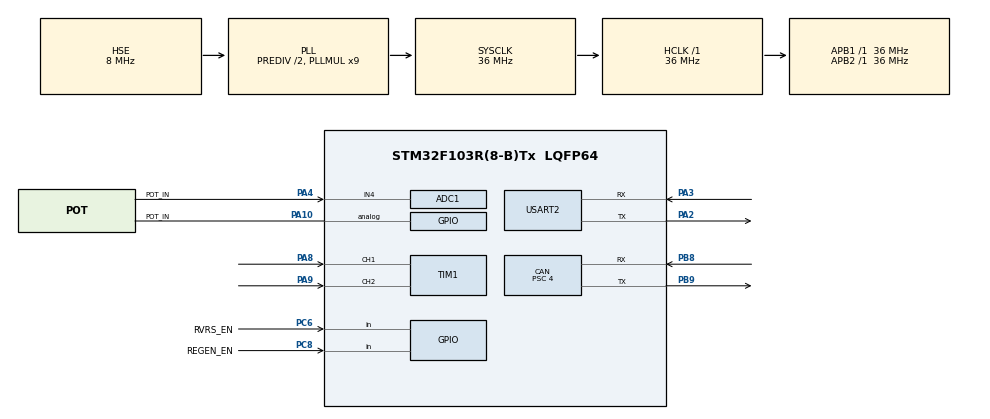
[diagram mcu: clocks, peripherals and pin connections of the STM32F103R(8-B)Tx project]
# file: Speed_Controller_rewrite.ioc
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ADC1.Channel-0\#ChannelRegularConversion=ADC_CHANNEL_4
ADC1.ExternalTrigConv=ADC_EXTERNALTRIGCONV_T3_TRGO
ADC1.NbrOfConversionFlag=1
ADC1.Rank-0\#ChannelRegularConversion=1
ADC1.SamplingTime-0\#ChannelRegularConversion=ADC_SAMPLETIME_239CYCLES_5
ADC1.master=1
CAN.ABOM=ENABLE
CAN.BS1=CAN_BS1_15TQ
CAN.BS2=CAN_BS2_2TQ
CAN.CalculateBaudRate=500000
CAN.CalculateTimeBit=2000
CAN.CalculateTimeQuantum=111.11111111111111
CAN.NART=ENABLE
CAN.Prescaler=4
Dma.ADC1.0.Direction=DMA_PERIPH_TO_MEMORY
Dma.ADC1.0.Instance=DMA1_Channel1
Dma.ADC1.0.MemDataAlignment=DMA_MDATAALIGN_HALFWORD
Dma.ADC1.0.MemInc=DMA_MINC_ENABLE
Dma.ADC1.0.Mode=DMA_CIRCULAR
Dma.ADC1.0.PeriphDataAlignment=DMA_PDATAALIGN_HALFWORD
Dma.ADC1.0.PeriphInc=DMA_PINC_DISABLE
Dma.ADC1.0.Priority=DMA_PRIORITY_LOW
Dma.Request0=ADC1
Mcu.Family=STM32F1
Mcu.Name=STM32F103R(8-B)Tx
Mcu.Package=LQFP64
NVIC.DMA1_Channel1_IRQn=true\:0\:0\:false\:false\:true\:false\:true
NVIC.PriorityGroup=NVIC_PRIORITYGROUP_4
PA10.GPIO_Label=POT_IN
PA10.Signal=GPIO_Analog
PA13.Mode=Serial_Wire
PA13.Signal=SYS_JTMS-SWDIO
PA14.Mode=Serial_Wire
PA14.Signal=SYS_JTCK-SWCLK
PA2.Mode=Asynchronous
PA2.Signal=USART2_TX
PA3.Mode=Asynchronous
PA3.Signal=USART2_RX
PA4.GPIO_Label=POT_IN
PA4.Signal=ADCx_IN4
PA8.Signal=S_TIM1_CH1
PA9.Signal=S_TIM1_CH2
PB8.Mode=CAN_Activate
PB8.Signal=CAN_RX
PB9.Mode=CAN_Activate
PB9.Signal=CAN_TX
PC6.GPIO_Label=RVRS_EN
PC6.Signal=GPIO_Input
PC8.GPIO_Label=REGEN_EN
PC8.Signal=GPIO_Input
PD0-OSC_IN.Mode=HSE-External-Clock-Source
PD0-OSC_IN.Signal=RCC_OSC_IN
PD1-OSC_OUT.Mode=HSE-External-Clock-Source
PD1-OSC_OUT.Signal=RCC_OSC_OUT
ProjectManager.HeapSize=0x200
ProjectManager.StackSize=0x400
ProjectManager.TargetToolchain=EWARM V8.32
RCC.ADCPresc=RCC_ADCPCLK2_DIV4
RCC.AHBFreq_Value=36000000
RCC.APB1Freq_Value=36000000
RCC.APB1TimFreq_Value=36000000
RCC.APB2Freq_Value=36000000
RCC.APB2TimFreq_Value=36000000
RCC.EnbaleCSS=true
RCC.HCLKFreq_Value=36000000
RCC.HSEDivPLL=RCC_HSE_PREDIV_DIV2
RCC.PLLMUL=RCC_PLL_MUL9
RCC.PLLSourceVirtual=RCC_PLLSOURCE_HSE
RCC.SYSCLKFreq_VALUE=36000000
RCC.SYSCLKSource=RCC_SYSCLKSOURCE_PLLCLK
RCC.USBFreq_Value=36000000
SH.ADCx_IN4.0=ADC1_IN4,IN4
SH.S_TIM1_CH1.0=TIM1_CH1,Encoder_Interface
SH.S_TIM1_CH2.0=TIM1_CH2,Encoder_Interface
TIM1.EncoderMode=TIM_ENCODERMODE_TI12
TIM3.Period=10 - 1
TIM3.Prescaler=3600 - 1
TIM3.TIM_MasterOutputTrigger=TIM_TRGO_UPDATE
USART2.VirtualMode=VM_ASYNC
VP_TIM3_VS_ClockSourceINT.Mode=Internal
board=custom

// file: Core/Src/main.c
/* USER CODE BEGIN Header */
/**
 ******************************************************************************
 * @file           : main.c
 * @brief          : Main program body
 ******************************************************************************
 * @attention
 *
 * Copyright (c) 2022 STMicroelectronics.
 * All rights reserved.
 *
 * This software is licensed under terms that can be found in the LICENSE file
 * in the root directory of this software component.
 * If no LICENSE file comes with this software, it is provided AS-IS.
 *
 ******************************************************************************
 */
/* USER CODE END Header */
#include "main.h"

/* USER CODE BEGIN Includes */
#include "debug_io.h"
#include "data_collect.h"
/* USER CODE END Includes */

/* USER CODE BEGIN PD */
// POT
#define PEDAL_MIN (0x36000)
#define PEDAL_MAX (0x3B400)

// STATE FREE ERROR RAW CURR

#define PEDAL_OVERFLOW (0x7000 * 10)

#define ADC_AVERAGE_SIZE 10
#define ADC_BUF_SIZE (ADC_AVERAGE_SIZE * 2)

typedef union
{
  float f;
  uint8_t b[4];
} FloatBytes_t;
/* USER CODE END PD */

ADC_HandleTypeDef hadc1;
DMA_HandleTypeDef hdma_adc1;

CAN_HandleTypeDef hcan;

TIM_HandleTypeDef htim1;
TIM_HandleTypeDef htim3;

UART_HandleTypeDef huart2;

void SystemClock_Config(void);
static void MX_GPIO_Init(void);
static void MX_CAN_Init(void);
static void MX_TIM1_Init(void);
static void MX_USART2_UART_Init(void);
static void MX_DMA_Init(void);
static void MX_ADC1_Init(void);
static void MX_TIM3_Init(void);
/* USER CODE BEGIN PFP */
static void SendMotorCommand(FloatBytes_t currentSetpoint, FloatBytes_t velocitySetpoint);
/* USER CODE END PFP */

/* USER CODE BEGIN 0 */
static volatile uint16_t adcBuf[ADC_BUF_SIZE] = {0};
static uint8_t regen_state;

static CAN_TxHeaderTypeDef speedCommandCanHeader = {
    0x0401,       // CAN ID
    0x0000,       // Extended CAN ID - unused
    CAN_ID_STD,   // Frame Identifier - Standard ID
    CAN_RTR_DATA, // Frame type - Data
    8,            // Data length
    DISABLE       // Timestamp
};

/**
 * Sends a CAN message to the motor controller with desired params
 *
 * @param current current percentage from 0-1
 * @param velocity target velocity in m/s
 */
static void SendMotorCommand(FloatBytes_t currentSetpoint, FloatBytes_t velocitySetpoint)
{
  uint32_t mailbox;
  uint8_t data[8];

  data[0] = velocitySetpoint.b[0];
  data[1] = velocitySetpoint.b[1];
  data[2] = velocitySetpoint.b[2];
  data[3] = velocitySetpoint.b[3];

  data[4] = currentSetpoint.b[0];
  data[5] = currentSetpoint.b[1];
  data[6] = currentSetpoint.b[2];
  data[7] = currentSetpoint.b [3];

  if(HAL_CAN_GetTxMailboxesFreeLevel(&hcan) <= 0) {
    printf("Mailbox full! ");
  } else {
    HAL_CAN_AddTxMessage(&hcan, &speedCommandCanHeader, data, &mailbox);
    printf("0x%x, 0x%lx, 0x%lx, ", HAL_CAN_GetState(&hcan), HAL_CAN_GetTxMailboxesFreeLevel(&hcan), HAL_CAN_GetError(&hcan));
  }

}

/* USER CODE END 0 */

// TODO: fix device failing to power on correctly at vehicle startup

int main(void)
{
  /* USER CODE BEGIN 1 */
  uint32_t pedal;
  FloatBytes_t currentSetpoint;
  FloatBytes_t velocitySetpoint;
  /* USER CODE END 1 */

  /* MCU Configuration--------------------------------------------------------*/

  /* Reset of all peripherals, Initializes the Flash interface and the Systick. */
  HAL_Init();

  /* Configure the system clock */
  SystemClock_Config();

  /* Initialize all configured peripherals */
  MX_GPIO_Init();
  MX_CAN_Init();
  MX_TIM1_Init();
  MX_USART2_UART_Init();
  MX_DMA_Init();
  MX_ADC1_Init();
  MX_TIM3_Init();
  /* USER CODE BEGIN 2 */
  DebugIO_Init(&huart2);
  printf("RESTART!\r\n");
  //HAL_TIM_Base_Start_IT(&htim2);
  //HAL_TIM_Encoder_Start(&htim1, TIM_CHANNEL_ALL);
  while(HAL_CAN_Start(&hcan) != HAL_OK)
    HAL_Delay(100);
  printf("CAN INIT");

  DataCollect_PrepareHardware(&hadc1);
  DataCollect_Start(&htim3);
  printf("ADC INIT");
  /* USER CODE END 2 */

  /* Infinite loop */
  /* USER CODE BEGIN WHILE */
  while (1)
  {
    // pedal = __HAL_TIM_GET_COUNTER(&htim1);

    if(DataCollect_Poll() == ADC1_RESULTS_STORED)
    {
      DataCollect_Get(&pedal);
      regen_state = HAL_GPIO_ReadPin(REGEN_EN_GPIO_Port, REGEN_EN_Pin);
      velocitySetpoint.f = HAL_GPIO_ReadPin(RVRS_EN_GPIO_Port, RVRS_EN_Pin) ? -10.0 : 10.0;

      if (pedal > PEDAL_OVERFLOW)
      {
        //__HAL_TIM_SET_COUNTER(&htim1, 0);
        printf("OF 0x%lX, %d\r\n", pedal, 0);
      }
      else
      {
        if (pedal > PEDAL_MIN)
        {
          // Map pedal value to percentage of full current
          currentSetpoint.f = ((float)(pedal - PEDAL_MIN)) / (PEDAL_MAX - PEDAL_MIN);

          // Fix target current between 0-1
          if (currentSetpoint.f > 1.0f)
            currentSetpoint.f = 1.0f;

          SendMotorCommand(currentSetpoint, velocitySetpoint);
          printf("0x%lX, %d\r\n", pedal, (int) (currentSetpoint.f * 100.0));
        } else
        {
          currentSetpoint.f = regen_state ? 1.0f : 0.0f;
          velocitySetpoint.f = 0;
          SendMotorCommand(currentSetpoint, velocitySetpoint);
          printf("0x%lX, %d\r\n", pedal, 0);
        }
      }
    }

    /* USER CODE END WHILE */

  }
}

void SystemClock_Config(void)
{
  RCC_OscInitTypeDef RCC_OscInitStruct = {0};
  RCC_ClkInitTypeDef RCC_ClkInitStruct = {0};
  RCC_PeriphCLKInitTypeDef PeriphClkInit = {0};

  /** Initializes the RCC Oscillators according to the specified parameters
  * in the RCC_OscInitTypeDef structure.
  */
  RCC_OscInitStruct.OscillatorType = RCC_OSCILLATORTYPE_HSE;
  RCC_OscInitStruct.HSEState = RCC_HSE_BYPASS;
  RCC_OscInitStruct.HSEPredivValue = RCC_HSE_PREDIV_DIV2;
  RCC_OscInitStruct.HSIState = RCC_HSI_ON;
  RCC_OscInitStruct.PLL.PLLState = RCC_PLL_ON;
  RCC_OscInitStruct.PLL.PLLSource = RCC_PLLSOURCE_HSE;
  RCC_OscInitStruct.PLL.PLLMUL = RCC_PLL_MUL9;
  if (HAL_RCC_OscConfig(&RCC_OscInitStruct) != HAL_OK)
  {
    Error_Handler();
  }
  /** Initializes the CPU, AHB and APB buses clocks
  */
  RCC_ClkInitStruct.ClockType = RCC_CLOCKTYPE_HCLK|RCC_CLOCKTYPE_SYSCLK
                              |RCC_CLOCKTYPE_PCLK1|RCC_CLOCKTYPE_PCLK2;
  RCC_ClkInitStruct.SYSCLKSource = RCC_SYSCLKSOURCE_PLLCLK;
  RCC_ClkInitStruct.AHBCLKDivider = RCC_SYSCLK_DIV1;
  RCC_ClkInitStruct.APB1CLKDivider = RCC_HCLK_DIV1;
  RCC_ClkInitStruct.APB2CLKDivider = RCC_HCLK_DIV1;

  if (HAL_RCC_ClockConfig(&RCC_ClkInitStruct, FLASH_LATENCY_1) != HAL_OK)
  {
    Error_Handler();
  }
  PeriphClkInit.PeriphClockSelection = RCC_PERIPHCLK_ADC;
  PeriphClkInit.AdcClockSelection = RCC_ADCPCLK2_DIV4;
  if (HAL_RCCEx_PeriphCLKConfig(&PeriphClkInit) != HAL_OK)
  {
    Error_Handler();
  }
  /** Enables the Clock Security System
  */
  HAL_RCC_EnableCSS();
}

static void MX_ADC1_Init(void)
{

  ADC_ChannelConfTypeDef sConfig = {0};

  /** Common config
  */
  hadc1.Instance = ADC1;
  hadc1.Init.ScanConvMode = ADC_SCAN_DISABLE;
  hadc1.Init.ContinuousConvMode = DISABLE;
  hadc1.Init.DiscontinuousConvMode = DISABLE;
  hadc1.Init.ExternalTrigConv = ADC_EXTERNALTRIGCONV_T3_TRGO;
  hadc1.Init.DataAlign = ADC_DATAALIGN_RIGHT;
  hadc1.Init.NbrOfConversion = 1;
  if (HAL_ADC_Init(&hadc1) != HAL_OK)
  {
    Error_Handler();
  }
  /** Configure Regular Channel
  */
  sConfig.Channel = ADC_CHANNEL_4;
  sConfig.Rank = ADC_REGULAR_RANK_1;
  sConfig.SamplingTime = ADC_SAMPLETIME_239CYCLES_5;
  if (HAL_ADC_ConfigChannel(&hadc1, &sConfig) != HAL_OK)
  {
    Error_Handler();
  }

}

static void MX_CAN_Init(void)
{

  hcan.Instance = CAN1;
  hcan.Init.Prescaler = 4;
  hcan.Init.Mode = CAN_MODE_NORMAL;
  hcan.Init.SyncJumpWidth = CAN_SJW_1TQ;
  hcan.Init.TimeSeg1 = CAN_BS1_15TQ;
  hcan.Init.TimeSeg2 = CAN_BS2_2TQ;
  hcan.Init.TimeTriggeredMode = DISABLE;
  hcan.Init.AutoBusOff = ENABLE;
  hcan.Init.AutoWakeUp = DISABLE;
  hcan.Init.AutoRetransmission = ENABLE;
  hcan.Init.ReceiveFifoLocked = DISABLE;
  hcan.Init.TransmitFifoPriority = DISABLE;
  if (HAL_CAN_Init(&hcan) != HAL_OK)
  {
    Error_Handler();
  }

}

static void MX_TIM1_Init(void)
{

  TIM_Encoder_InitTypeDef sConfig = {0};
  TIM_MasterConfigTypeDef sMasterConfig = {0};

  htim1.Instance = TIM1;
  htim1.Init.Prescaler = 0;
  htim1.Init.CounterMode = TIM_COUNTERMODE_UP;
  htim1.Init.Period = 65535;
  htim1.Init.ClockDivision = TIM_CLOCKDIVISION_DIV1;
  htim1.Init.RepetitionCounter = 0;
  htim1.Init.AutoReloadPreload = TIM_AUTORELOAD_PRELOAD_DISABLE;
  sConfig.EncoderMode = TIM_ENCODERMODE_TI12;
  sConfig.IC1Polarity = TIM_ICPOLARITY_RISING;
  sConfig.IC1Selection = TIM_ICSELECTION_DIRECTTI;
  sConfig.IC1Prescaler = TIM_ICPSC_DIV1;
  sConfig.IC1Filter = 0;
  sConfig.IC2Polarity = TIM_ICPOLARITY_RISING;
  sConfig.IC2Selection = TIM_ICSELECTION_DIRECTTI;
  sConfig.IC2Prescaler = TIM_ICPSC_DIV1;
  sConfig.IC2Filter = 0;
  if (HAL_TIM_Encoder_Init(&htim1, &sConfig) != HAL_OK)
  {
    Error_Handler();
  }
  sMasterConfig.MasterOutputTrigger = TIM_TRGO_RESET;
  sMasterConfig.MasterSlaveMode = TIM_MASTERSLAVEMODE_DISABLE;
  if (HAL_TIMEx_MasterConfigSynchronization(&htim1, &sMasterConfig) != HAL_OK)
  {
    Error_Handler();
  }

}

static void MX_TIM3_Init(void)
{

  TIM_ClockConfigTypeDef sClockSourceConfig = {0};
  TIM_MasterConfigTypeDef sMasterConfig = {0};

  htim3.Instance = TIM3;
  htim3.Init.Prescaler = 3600 - 1;
  htim3.Init.CounterMode = TIM_COUNTERMODE_UP;
  htim3.Init.Period = 10 - 1;
  htim3.Init.ClockDivision = TIM_CLOCKDIVISION_DIV1;
  htim3.Init.AutoReloadPreload = TIM_AUTORELOAD_PRELOAD_DISABLE;
  if (HAL_TIM_Base_Init(&htim3) != HAL_OK)
  {
    Error_Handler();
  }
  sClockSourceConfig.ClockSource = TIM_CLOCKSOURCE_INTERNAL;
  if (HAL_TIM_ConfigClockSource(&htim3, &sClockSourceConfig) != HAL_OK)
  {
    Error_Handler();
  }
  sMasterConfig.MasterOutputTrigger = TIM_TRGO_UPDATE;
  sMasterConfig.MasterSlaveMode = TIM_MASTERSLAVEMODE_DISABLE;
  if (HAL_TIMEx_MasterConfigSynchronization(&htim3, &sMasterConfig) != HAL_OK)
  {
    Error_Handler();
  }

}

static void MX_USART2_UART_Init(void)
{

  huart2.Instance = USART2;
  huart2.Init.BaudRate = 115200;
  huart2.Init.WordLength = UART_WORDLENGTH_8B;
  huart2.Init.StopBits = UART_STOPBITS_1;
  huart2.Init.Parity = UART_PARITY_NONE;
  huart2.Init.Mode = UART_MODE_TX_RX;
  huart2.Init.HwFlowCtl = UART_HWCONTROL_NONE;
  huart2.Init.OverSampling = UART_OVERSAMPLING_16;
  if (HAL_UART_Init(&huart2) != HAL_OK)
  {
    Error_Handler();
  }

}

static void MX_DMA_Init(void)
{

  /* DMA controller clock enable */
  __HAL_RCC_DMA1_CLK_ENABLE();

  /* DMA interrupt init */
  /* DMA1_Channel1_IRQn interrupt configuration */
  HAL_NVIC_SetPriority(DMA1_Channel1_IRQn, 0, 0);
  HAL_NVIC_EnableIRQ(DMA1_Channel1_IRQn);

}

static void MX_GPIO_Init(void)
{
  GPIO_InitTypeDef GPIO_InitStruct = {0};

  /* GPIO Ports Clock Enable */
  __HAL_RCC_GPIOD_CLK_ENABLE();
  __HAL_RCC_GPIOA_CLK_ENABLE();
  __HAL_RCC_GPIOC_CLK_ENABLE();
  __HAL_RCC_GPIOB_CLK_ENABLE();

  /*Configure GPIO pins : RVRS_EN_Pin REGEN_EN_Pin */
  GPIO_InitStruct.Pin = RVRS_EN_Pin|REGEN_EN_Pin;
  GPIO_InitStruct.Mode = GPIO_MODE_INPUT;
  GPIO_InitStruct.Pull = GPIO_NOPULL;
  HAL_GPIO_Init(GPIOC, &GPIO_InitStruct);

  /*Configure GPIO pin : POT_INA10_Pin */
  GPIO_InitStruct.Pin = POT_INA10_Pin;
  GPIO_InitStruct.Mode = GPIO_MODE_ANALOG;
  HAL_GPIO_Init(POT_INA10_GPIO_Port, &GPIO_InitStruct);

}

void Error_Handler(void)
{
  __disable_irq();
  while (1)
  {
  }
}
